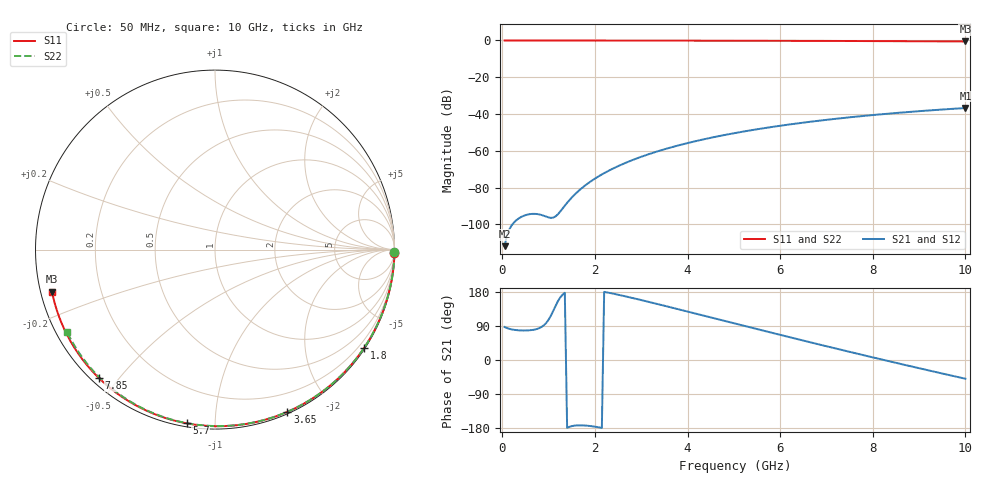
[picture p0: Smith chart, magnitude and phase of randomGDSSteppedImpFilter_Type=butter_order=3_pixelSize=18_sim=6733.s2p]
! freq	dB(S11)	phase(S11)	dB(S12)	phase(S12)
!  dB(S21)	phase(S21)	dB(S22)	phase(S22)
!S-par simulation data
#  GHz  S  DB  R 50
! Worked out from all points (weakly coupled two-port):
!   200 points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, 50 MHz to 10 GHz, reference 50 ohm
!   highest |S21| = -36.75 dB at 10 GHz (marker M1); lowest = -111.9 dB at 50 MHz (marker M2)
!   lowest |S11| = -0.6 dB at 10 GHz (marker M3), VSWR 31.25, Z = 1.63 - j6.36 ohm
!   |S11| at or under -10 dB: nowhere
!   |S22| runs from -0.5 to 0.0 dB; largest |S21 - S12| = 0
!   S11 on the Smith chart (normalised r, x): 50 MHz: open; 1.8 GHz: 0.03, -3.33; 3.65 GHz: 0.02, -1.54; 5.7 GHz: 0.02, -0.85; 7.85 GHz: 0.02, -0.44; 10 GHz: 0.03, -0.13
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0.05  -0.00 -0.9  -111.88 87.0  -111.88 87.0  -0.00 -0.9
0.45  -0.01 -8.5  -95.50 77.9  -95.50 77.9  -0.01 -7.8
0.85  -0.02 -16.0  -94.94 87.4  -94.94 87.4  -0.02 -14.7
1.7  -0.04 -31.6  -80.67 -172.4  -80.67 -172.4  -0.04 -29.2
1.75  -0.04 -32.5  -79.63 -172.6  -79.63 -172.6  -0.04 -30.0
1.8  -0.04 -33.4  -78.65 -173.0  -78.65 -173.0  -0.04 -30.8
2.1  -0.05 -38.8  -73.60 -177.9  -73.60 -177.9  -0.05 -35.9
2.3  -0.05 -42.4  -70.81 177.5  -70.81 177.5  -0.05 -39.2
2.5  -0.06 -46.0  -68.36 172.3  -68.36 172.3  -0.05 -42.5
2.9  -0.07 -53.0  -64.19 161.1  -64.19 161.1  -0.06 -49.0
3.4  -0.08 -61.7  -59.94 146.2  -59.94 146.2  -0.08 -57.0
3.65  -0.09 -65.9  -58.12 138.6  -58.12 138.6  -0.08 -60.9
4.3  -0.11 -76.8  -54.04 118.6  -54.04 118.6  -0.10 -71.0
5.05  -0.14 -89.0  -50.24 95.4  -50.24 95.4  -0.13 -82.2
5.7  -0.17 -99.3  -47.51 75.5  -47.51 75.5  -0.15 -91.7
6.2  -0.19 -107.1  -45.69 60.3  -45.69 60.3  -0.18 -98.8
6.7  -0.23 -114.7  -44.06 45.2  -44.06 45.2  -0.21 -105.9
7.25  -0.27 -123.1  -42.47 28.9  -42.47 28.9  -0.24 -113.4
7.85  -0.31 -132.2  -40.92 11.3  -40.92 11.3  -0.29 -121.6
8.35  -0.36 -139.8  -39.78 -3.2  -39.78 -3.2  -0.33 -128.4
9.2  -0.45 -152.8  -38.09 -27.3  -38.09 -27.3  -0.41 -139.9
10  -0.56 -165.5  -36.75 -49.4  -36.75 -49.4  -0.51 -151.0
